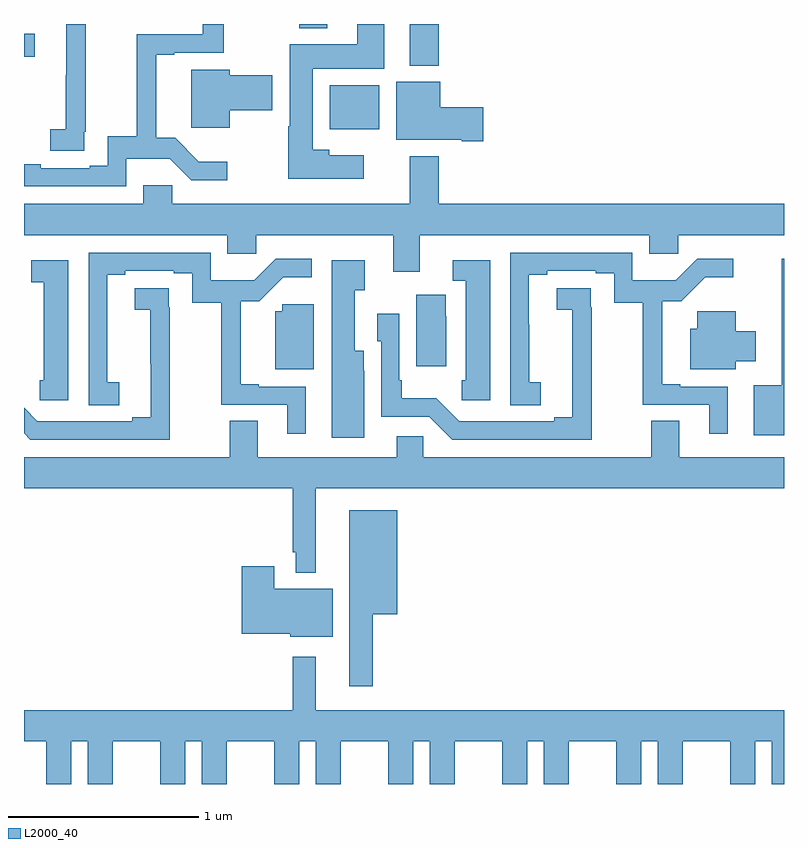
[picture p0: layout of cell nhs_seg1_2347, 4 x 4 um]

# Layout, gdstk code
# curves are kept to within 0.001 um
import gdstk
lib = gdstk.Library(unit=1e-6, precision=1e-09)
def R(c, l, rs):  # rectangles x0, y0, x1, y1
    for r in rs: c.add(gdstk.rectangle(r[:2], r[2:], *l))
def P(c, l, *ps):  # polygons
    for p in ps: c.add(gdstk.Polygon(p, *l))
L2000_40 = (2000, 40)

nhs_seg1_2347 = lib.new_cell('nhs_seg1_2347')
R(nhs_seg1_2347, L2000_40, [(240.608,529.646,240.871,529.876), (241.031,529.979,241.184,530.199), (239,530.027,239.056,530.147), (240.448,530.177,240.595,530.199)])
P(nhs_seg1_2347, L2000_40, [(239.538,529.49),(239.767,529.49),(239.88,529.377),(240.07,529.377),(240.07,529.474),(239.921,529.474),(239.795,529.6),(239.696,529.6),(239.696,530.037),(239.791,530.037),(239.791,530.049),(240.052,530.049),(240.052,530.199),(239.942,530.199),(239.942,530.145),(239.593,530.145),(239.593,529.607),(239.442,529.607),(239.442,529.454),(239.345,529.454),(239.345,529.44),(239.089,529.44),(239.089,529.46),(239,529.46),(239,529.344),(239.538,529.344)],
  [(239.318,529.633),(239.324,529.633),(239.324,530.199),(239.222,530.199),(239.222,529.929),(239.221,529.929),(239.221,529.646),(239.139,529.646),(239.139,529.531),(239.318,529.531)],
  [(240.787,529.507),(240.607,529.507),(240.607,529.537),(240.52,529.537),(240.52,529.964),(240.895,529.964),(240.895,530.199),(240.755,530.199),(240.755,530.092),(240.398,530.092),(240.398,529.661),(240.391,529.661),(240.391,529.385),(240.787,529.385)],
  [(240.082,529.745),(240.307,529.745),(240.307,529.928),(240.082,529.928),(240.082,529.957),(239.879,529.957),(239.879,529.652),(240.082,529.652)],
  [(241.417,529.76),(241.192,529.76),(241.192,529.894),(240.959,529.894),(240.959,529.589),(241.304,529.589),(241.304,529.582),(241.417,529.582)],
  [(241.084,529.088),(242.291,529.088),(242.291,528.99),(242.443,528.99),(242.443,529.088),(243,529.088),(243,529.252),(241.184,529.252),(241.184,529.504),(241.031,529.504),(241.031,529.252),(239.779,529.252),(239.779,529.35),(239.627,529.35),(239.627,529.252),(239,529.252),(239,529.088),(240.071,529.088),(240.071,528.99),(240.223,528.99),(240.223,529.088),(240.944,529.088),(240.944,528.894),(241.084,528.894)],
  [(242.704,528.291),(242.455,528.291),(242.455,528.304),(242.359,528.304),(242.359,528.741),(242.459,528.741),(242.585,528.866),(242.734,528.866),(242.734,528.963),(242.544,528.963),(242.431,528.85),(242.202,528.85),(242.202,528.996),(241.56,528.996),(241.56,528.193),(241.72,528.193),(241.72,528.313),(241.659,528.313),(241.659,528.617),(241.657,528.617),(241.657,528.88),(241.753,528.88),(241.753,528.9),(242.009,528.9),(242.009,528.886),(242.106,528.886),(242.106,528.733),(242.257,528.733),(242.257,528.195),(242.606,528.195),(242.606,528.042),(242.704,528.042)],
  [(240.484,528.291),(240.235,528.291),(240.235,528.304),(240.14,528.304),(240.14,528.741),(240.239,528.741),(240.365,528.866),(240.514,528.866),(240.514,528.963),(240.324,528.963),(240.211,528.85),(239.982,528.85),(239.982,528.996),(239.34,528.996),(239.34,528.193),(239.5,528.193),(239.5,528.313),(239.439,528.313),(239.439,528.617),(239.437,528.617),(239.437,528.88),(239.533,528.88),(239.533,528.9),(239.789,528.9),(239.789,528.886),(239.886,528.886),(239.886,528.733),(240.037,528.733),(240.037,528.195),(240.386,528.195),(240.386,528.042),(240.484,528.042)],
  [(243,528.964),(242.987,528.964),(242.987,528.298),(242.84,528.298),(242.84,528.035),(243,528.035)],
  [(239.233,528.955),(239.037,528.955),(239.037,528.84),(239.105,528.84),(239.105,528.324),(239.083,528.324),(239.083,528.219),(239.233,528.219)],
  [(240.79,528.374),(240.789,528.374),(240.789,528.478),(240.742,528.478),(240.742,528.799),(240.793,528.799),(240.793,528.955),(240.62,528.955),(240.62,528.021),(240.79,528.021)],
  [(241.453,528.955),(241.257,528.955),(241.257,528.847),(241.325,528.847),(241.325,528.324),(241.303,528.324),(241.303,528.219),(241.453,528.219)],
  [(241.988,528.707),(241.982,528.707),(241.982,528.809),(241.803,528.809),(241.803,528.694),(241.885,528.694),(241.886,528.128),(241.79,528.128),(241.79,528.108),(241.29,528.108),(241.169,528.229),(240.988,528.229),(240.988,528.325),(240.975,528.325),(240.975,528.673),(240.858,528.673),(240.858,528.528),(240.879,528.528),(240.879,528.132),(241.134,528.132),(241.254,528.012),(241.988,528.012)],
  [(239.768,528.707),(239.762,528.707),(239.762,528.809),(239.583,528.809),(239.583,528.694),(239.665,528.694),(239.666,528.128),(239.57,528.128),(239.57,528.108),(239.07,528.108),(239,528.178),(239,528.046),(239.034,528.012),(239.768,528.012)],
  [(241.222,528.662),(241.22,528.662),(241.22,528.775),(241.064,528.775),(241.064,528.399),(241.222,528.399)],
  [(240.526,528.724),(240.36,528.724),(240.36,528.688),(240.323,528.688),(240.323,528.383),(240.526,528.383)],
  [(242.746,528.425),(242.851,528.425),(242.851,528.583),(242.746,528.583),(242.746,528.688),(242.543,528.688),(242.543,528.596),(242.507,528.596),(242.507,528.383),(242.746,528.383)],
  [(240.535,527.756),(243,527.756),(243,527.92),(242.449,527.92),(242.449,528.11),(242.302,528.11),(242.302,527.92),(241.101,527.92),(241.101,528.03),(240.962,528.03),(240.962,527.92),(240.229,527.92),(240.229,528.11),(240.082,528.11),(240.082,527.92),(239,527.92),(239,527.756),(240.414,527.756),(240.414,527.419),(240.431,527.419),(240.431,527.312),(240.535,527.312)],
  [(240.835,527.093),(240.964,527.093),(240.964,527.641),(240.713,527.641),(240.713,526.713),(240.835,526.713)],
  [(240.625,527.227),(240.316,527.227),(240.316,527.344),(240.146,527.344),(240.146,526.991),(240.402,526.991),(240.402,526.973),(240.625,526.973)],
  [(239.248,526.424),(239.336,526.424),(239.336,526.199),(239.466,526.199),(239.466,526.216),(239.467,526.216),(239.467,526.424),(239.717,526.424),(239.717,526.216),(239.718,526.216),(239.718,526.199),(239.848,526.199),(239.848,526.424),(239.936,526.424),(239.936,526.199),(240.066,526.199),(240.066,526.216),(240.067,526.216),(240.067,526.424),(240.317,526.424),(240.317,526.216),(240.318,526.216),(240.318,526.199),(240.448,526.199),(240.448,526.424),(240.536,526.424),(240.536,526.199),(240.666,526.199),(240.666,526.216),(240.667,526.216),(240.667,526.424),(240.917,526.424),(240.917,526.216),(240.918,526.216),(240.918,526.199),(241.048,526.199),(241.048,526.424),(241.136,526.424),(241.136,526.199),(241.266,526.199),(241.266,526.216),(241.267,526.216),(241.267,526.424),(241.517,526.424),(241.517,526.216),(241.518,526.216),(241.518,526.199),(241.648,526.199),(241.648,526.424),(241.736,526.424),(241.736,526.199),(241.866,526.199),(241.866,526.216),(241.867,526.216),(241.867,526.424),(242.117,526.424),(242.117,526.216),(242.118,526.216),(242.118,526.199),(242.248,526.199),(242.248,526.424),(242.336,526.424),(242.336,526.199),(242.466,526.199),(242.466,526.216),(242.467,526.216),(242.467,526.424),(242.717,526.424),(242.717,526.216),(242.718,526.216),(242.718,526.199),(242.848,526.199),(242.848,526.424),(242.936,526.424),(242.936,526.199),(243,526.199),(243,526.588),(240.535,526.588),(240.535,526.87),(240.414,526.87),(240.414,526.588),(239,526.588),(239,526.424),(239.117,526.424),(239.117,526.216),(239.118,526.216),(239.118,526.199),(239.248,526.199)])

lib.write_gds('nhs_seg1_2347.gds')
